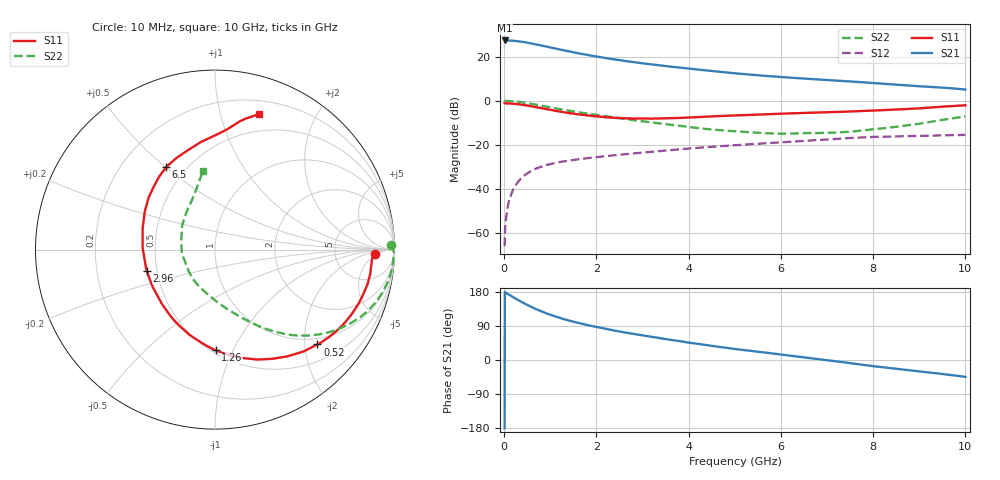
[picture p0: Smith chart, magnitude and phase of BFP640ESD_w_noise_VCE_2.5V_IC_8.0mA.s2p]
! Infineon Technologies  Discrete & RF Semiconductors
! BFP640ESD
! VCE =  2.5 V,  IC =  8.0 mA
! Common Emitter S-Parameters:  Jan 2016
# GHz  S  MA  R  50
!  f  S11  S21  S12  S22
! GHz  MAG  ANG  MAG  ANG  MAG  ANG  MAG  ANG
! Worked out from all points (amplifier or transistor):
!   233 points, 10 MHz to 10 GHz, reference 50 ohm
!   highest |S21| = 27.5 dB at 10 MHz (marker M1)
!   |S21| within 3 dB of that: start of sweep to 962.3 MHz
!   unconditionally stable (mu >= 1): 4.323 GHz to 8.986 GHz
!   at 200 MHz: K = 0.08, MSG = 33.7 dB, |S12| = -40.1 dB
!   at 1.74 GHz: K = 0.62, MSG = 23.7 dB, |S12| = -26.2 dB
!   at 10 GHz: K = 0.86, MSG = 10.3 dB, |S12| = -15.4 dB
!   lowest NFmin = 0.63 dB at 450 MHz
!   S11 on the Smith chart (normalised r, x): 10 MHz: 16, -4; 520 MHz: 0.85, -2.28; 1.26 GHz: 0.52, -0.86; 2.96 GHz: 0.44, -0.12; 6.5 GHz: 0.39, +0.50; 10 GHz: 0.32, +1.33
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0.01  0.8895 -1.7  23.63 -180.0  0.0005 95.3  0.9817 1.5
0.05  0.8754 -4.5  23.47 176.0  0.0025 85.7  0.9959 -2.7
0.08  0.875 -7.0  23.5 174.1  0.0041 85.5  0.994 -4.3
0.17  0.867 -14.6  23.33 167.7  0.0084 81.6  0.9836 -9.0
0.26  0.8503 -22.2  22.84 161.1  0.0126 77.7  0.9657 -13.7
0.4  0.8156 -33.6  21.9 151.7  0.0187 71.8  0.9266 -20.5
0.52  0.7774 -42.8  20.84 144.1  0.0233 67.2  0.8855 -25.7
0.7  0.7186 -55.9  19.18 133.8  0.0292 61.6  0.8203 -32.6
0.84  0.6737 -64.9  17.81 126.8  0.033 57.9  0.7697 -37.2
1  0.626 -75.1  16.41 119.4  0.0368 54.4  0.7146 -42.0
1.26  0.5601 -89.7  14.34 109.1  0.0418 50.2  0.6369 -48.3
1.4  0.5294 -97.1  13.34 104.1  0.044 48.5  0.5991 -51.2
1.68  0.4824 -110.4  11.71 95.6  0.0482 46.0  0.5381 -56.1
2.2  0.4261 -133.0  9.41 82.0  0.0555 43.1  0.4492 -64.1
2.96  0.3978 -162.9  7.233 65.6  0.0663 39.8  0.3482 -76.7
3.4  0.3994 -177.9  6.36 57.2  0.073 37.8  0.3053 -84.7
4.5  0.4459 151.2  4.787 37.0  0.0908 31.5  0.224 -113.4
5.1  0.4728 140.4  4.154 27.7  0.0998 27.6  0.201 -129.7
6.5  0.5349 120.5  3.219 7.0  0.1239 18.2  0.1855 -172.5
6.8  0.5448 115.9  3.073 2.6  0.1297 15.7  0.1859 179.7
8.4  0.6292 91.3  2.368 -21.9  0.1553 -0.6  0.2509 131.6
10  0.7941 71.9  1.815 -44.5  0.1693 -15.1  0.4436 98.7
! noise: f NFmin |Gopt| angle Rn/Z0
0.45  0.63  0.26  9  0.1
0.9  0.65  0.24  22  0.11
1.9  0.69  0.18  38  0.11
2.4  0.73  0.14  55  0.1
5.5  1.02  0.32  -137  0.13
10  1.86  0.6  -80  0.73
